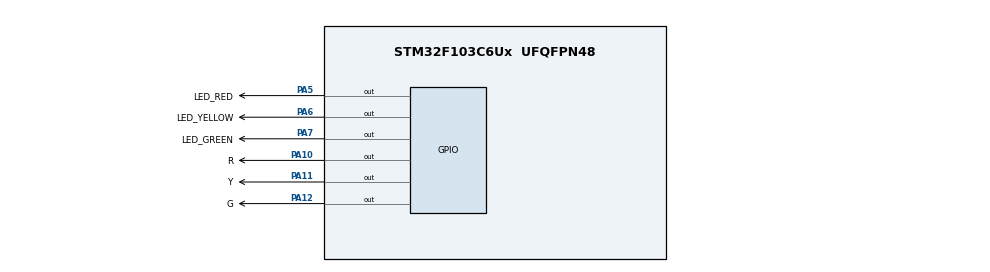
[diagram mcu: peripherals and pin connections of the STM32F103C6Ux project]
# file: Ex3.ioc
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Mcu.Family=STM32F1
Mcu.Name=STM32F103C6Ux
Mcu.Package=UFQFPN48
NVIC.PriorityGroup=NVIC_PRIORITYGROUP_4
PA10.GPIO_Label=R
PA10.Signal=GPIO_Output
PA11.GPIO_Label=Y
PA11.Signal=GPIO_Output
PA12.GPIO_Label=G
PA12.Signal=GPIO_Output
PA5.GPIO_Label=LED_RED
PA5.Signal=GPIO_Output
PA6.GPIO_Label=LED_YELLOW
PA6.Signal=GPIO_Output
PA7.GPIO_Label=LED_GREEN
PA7.Signal=GPIO_Output
ProjectManager.HeapSize=0x200
ProjectManager.StackSize=0x400
ProjectManager.TargetToolchain=STM32CubeIDE
RCC.APB1Freq_Value=8000000
RCC.APB2Freq_Value=8000000
VP_SYS_VS_ND.Mode=No_Debug
board=custom

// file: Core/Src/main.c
/* USER CODE BEGIN Header */
/**
  ******************************************************************************
  * @file           : main.c
  * @brief          : Main program body
  ******************************************************************************
  * @attention
  *
  * <h2><center>&copy; Copyright (c) 2022 STMicroelectronics.
  * All rights reserved.</center></h2>
  *
  * This software component is licensed by ST under BSD 3-Clause license,
  * the "License"; You may not use this file except in compliance with the
  * License. You may obtain a copy of the License at:
  *                        opensource.org/licenses/BSD-3-Clause
  *
  ******************************************************************************
  */
/* USER CODE END Header */
#include "main.h"

void SystemClock_Config(void);
static void MX_GPIO_Init(void);

int main(void)
{

  /* MCU Configuration--------------------------------------------------------*/

  /* Reset of all peripherals, Initializes the Flash interface and the Systick. */
  HAL_Init();

  /* Configure the system clock */
  SystemClock_Config();

  /* Initialize all configured peripherals */
  MX_GPIO_Init();
  /* USER CODE BEGIN 2 */
  	  int count=1000;
  /* USER CODE END 2 */

  /* Infinite loop */
  /* USER CODE BEGIN WHILE */
  while (1)
  {
	  if(count>500)
	  {
		  HAL_GPIO_WritePin(LED_RED_GPIO_Port, LED_RED_Pin, RESET);
		  HAL_GPIO_WritePin(LED_GREEN_GPIO_Port, LED_GREEN_Pin, SET);
		  HAL_GPIO_WritePin(LED_YELLOW_GPIO_Port, LED_YELLOW_Pin, SET);
		  HAL_GPIO_WritePin(G_GPIO_Port, G_Pin, RESET);
		  HAL_GPIO_WritePin(Y_GPIO_Port, Y_Pin, SET);
		  HAL_GPIO_WritePin(R_GPIO_Port, R_Pin, SET);
		  if(count<=700)
		  {
			  HAL_GPIO_WritePin(G_GPIO_Port, G_Pin, SET);
			  HAL_GPIO_WritePin(Y_GPIO_Port, Y_Pin, RESET);
			  HAL_GPIO_WritePin(R_GPIO_Port, R_Pin, SET);
		  }
	  }
	  if(count<=500 && count>200)
	  {
		  HAL_GPIO_WritePin(G_GPIO_Port, G_Pin, SET);
		  HAL_GPIO_WritePin(Y_GPIO_Port, Y_Pin, SET);
		  HAL_GPIO_WritePin(R_GPIO_Port, R_Pin, RESET);

		  HAL_GPIO_WritePin(LED_RED_GPIO_Port, LED_RED_Pin, SET);
		  HAL_GPIO_WritePin(LED_GREEN_GPIO_Port, LED_GREEN_Pin, RESET);
		  HAL_GPIO_WritePin(LED_YELLOW_GPIO_Port, LED_YELLOW_Pin, SET);
	  }

	  if(count<=200)
	  {
		  HAL_GPIO_WritePin(LED_RED_GPIO_Port, LED_RED_Pin, SET);
	  	  HAL_GPIO_WritePin(LED_GREEN_GPIO_Port, LED_GREEN_Pin, SET);
	  	  HAL_GPIO_WritePin(LED_YELLOW_GPIO_Port, LED_YELLOW_Pin, RESET);
	  	  if(count==0)
	  	  {
	  		  count=1001;
	  	  }
	  }
	  count--;
	  HAL_Delay(10);
    /* USER CODE END WHILE */

  }
}

void SystemClock_Config(void)
{
  RCC_OscInitTypeDef RCC_OscInitStruct = {0};
  RCC_ClkInitTypeDef RCC_ClkInitStruct = {0};

  /** Initializes the RCC Oscillators according to the specified parameters
  * in the RCC_OscInitTypeDef structure.
  */
  RCC_OscInitStruct.OscillatorType = RCC_OSCILLATORTYPE_HSI;
  RCC_OscInitStruct.HSIState = RCC_HSI_ON;
  RCC_OscInitStruct.HSICalibrationValue = RCC_HSICALIBRATION_DEFAULT;
  RCC_OscInitStruct.PLL.PLLState = RCC_PLL_NONE;
  if (HAL_RCC_OscConfig(&RCC_OscInitStruct) != HAL_OK)
  {
    Error_Handler();
  }
  /** Initializes the CPU, AHB and APB buses clocks
  */
  RCC_ClkInitStruct.ClockType = RCC_CLOCKTYPE_HCLK|RCC_CLOCKTYPE_SYSCLK
                              |RCC_CLOCKTYPE_PCLK1|RCC_CLOCKTYPE_PCLK2;
  RCC_ClkInitStruct.SYSCLKSource = RCC_SYSCLKSOURCE_HSI;
  RCC_ClkInitStruct.AHBCLKDivider = RCC_SYSCLK_DIV1;
  RCC_ClkInitStruct.APB1CLKDivider = RCC_HCLK_DIV1;
  RCC_ClkInitStruct.APB2CLKDivider = RCC_HCLK_DIV1;

  if (HAL_RCC_ClockConfig(&RCC_ClkInitStruct, FLASH_LATENCY_0) != HAL_OK)
  {
    Error_Handler();
  }
}

static void MX_GPIO_Init(void)
{
  GPIO_InitTypeDef GPIO_InitStruct = {0};

  /* GPIO Ports Clock Enable */
  __HAL_RCC_GPIOA_CLK_ENABLE();

  /*Configure GPIO pin Output Level */
  HAL_GPIO_WritePin(GPIOA, LED_RED_Pin|LED_YELLOW_Pin|LED_GREEN_Pin|R_Pin
                          |Y_Pin|G_Pin, GPIO_PIN_RESET);

  /*Configure GPIO pins : LED_RED_Pin LED_YELLOW_Pin LED_GREEN_Pin R_Pin
                           Y_Pin G_Pin */
  GPIO_InitStruct.Pin = LED_RED_Pin|LED_YELLOW_Pin|LED_GREEN_Pin|R_Pin
                          |Y_Pin|G_Pin;
  GPIO_InitStruct.Mode = GPIO_MODE_OUTPUT_PP;
  GPIO_InitStruct.Pull = GPIO_NOPULL;
  GPIO_InitStruct.Speed = GPIO_SPEED_FREQ_LOW;
  HAL_GPIO_Init(GPIOA, &GPIO_InitStruct);

}

void Error_Handler(void)
{
  __disable_irq();
  while (1)
  {
  }
}

/************************ (C) COPYRIGHT STMicroelectronics *****END OF FILE****/
